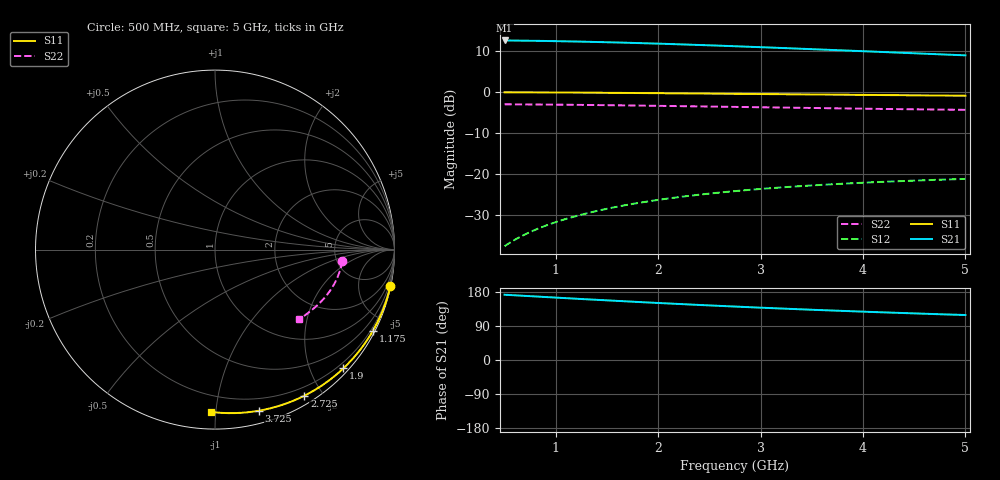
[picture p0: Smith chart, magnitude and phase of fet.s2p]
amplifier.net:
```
! =====================================================================
! amplifier.net - TANG KHUECH DAI TRANSISTOR CO HOI TIEP (KHONG THUAN NGHICH)
! =====================================================================
! Muc dich: dua vi du transistor cua transistor_bug_demo.py ve dang NETLIST.
!
! Transistor doc tu fet.s2p (mo hinh FET tin hieu nho, |S21/S12| ~ 40..160 lan
! -> KHONG thuan nghich ro ret).
!
! QUAN TRONG - vi sao phai co dien tro HOI TIEP RFB:
! Loi dao he so (1-S[p,q]) <-> (1-S[q,p]) trong engine.connect_ports() CHI
! bieu hien khi hai cong p,q duoc noi NAM TRONG CUNG mot ma tran S va duong
! truyen giua chung KHONG thuan nghich (S[p,q] != S[q,p]). Voi mach cascade
! thuan (chi noi tiep tung khoi) thi luon co S[p,q] = S[q,p] = 0 tai thoi
! diem noi -> ca hai he so deu bang 1 -> loi bi AN hoan toan.
! RFB tao mot VONG KIN G1 -> Q1 -> D1 -> RFB -> G1 bao quanh transistor,
! nen khi rut gon pairwise se phat sinh truong hop S[p,q] != S[q,p] va loi
! lo ra (xem bang "CHUNG MINH" trong compare_algorithms.py).
!
! Topo:
!                    +--------- RFB (500 ohm) ---------+
!                    |                                 |
!   PORT1 --TLI(50,45d)-- G1 --[Q1: FET tu fet.s2p]-- D1 --TLO(50,45d)-- PORT2
!                    |                                 |
!              STI(75,30d,open)                 STO(75,30d,short)
!
! Nut G1 va D1 moi co 4 chan -> netlist.py tu chen moi noi 4 cong.
! =====================================================================

FREQ START=1.0G STOP=4.0G POINTS=301

PORT 1 IN
PORT 2 OUT

! --- mang phoi hop dau vao: doan day 50 ohm + stub ho mach ---
TLINE TLI  IN  G1  Z0=50   EL=45 F0=2.4G
STUB  STI  G1      Z0=75   EL=30 F0=2.4G TERM=open

! --- transistor (khoi khong thuan nghich, lay tu file Touchstone) ---
S2P   Q1   G1  D1  FILE=fet.s2p INTERP=ri

! --- hoi tiep song song: tao vong kin bao quanh transistor ---
RES   RFB  G1  D1  R=500

! --- mang phoi hop dau ra: stub ngan mach + doan day 50 ohm ---
STUB  STO  D1      Z0=75   EL=30 F0=2.4G TERM=short
TLINE TLO  D1  OUT Z0=50   EL=45 F0=2.4G
```
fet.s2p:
! FET tin hieu nho (mo hinh noi: Cgs=0.5pF Cgd=0.05pF Cds=0.1pF gm=50mS Rds=300 Ri=4 tau=1ps)
! KHONG THUAN NGHICH: S21 != S12 -> dung de kiem chung thuat toan noi cong
# GHz S RI R 50
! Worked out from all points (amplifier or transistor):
!   181 points, 500 MHz to 5 GHz, reference 50 ohm
!   highest |S21| = 12.6 dB at 500 MHz (marker M1)
!   |S21| within 3 dB of that: start of sweep to 4.383 GHz
!   unconditionally stable (mu >= 1): nowhere
!   at 1.25 GHz: K = 0.05, MSG = 21.0 dB, |S12| = -29.8 dB
!   at 2.75 GHz: K = 0.12, MSG = 17.6 dB, |S12| = -24.1 dB
!   at 5 GHz: K = 0.21, MSG = 15.0 dB, |S12| = -21.1 dB
!   S11 on the Smith chart (normalised r, x): 500 MHz: 0.10, -9.69; 1.175 GHz: 0.10, -4.12; 1.9 GHz: 0.10, -2.55; 2.725 GHz: 0.10, -1.78; 3.725 GHz: 0.10, -1.30; 5 GHz: 0.10, -0.97
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0.5  0.9769 -0.2038  -4.219 0.5752  0.00164 0.0133  0.7091 -0.0629
0.8  0.942 -0.3198  -4.118 0.9018  0.00412 0.0208  0.7014 -0.0993
1.175  0.8794 -0.4529  -3.937 1.276  0.00856 0.0293  0.6873 -0.1424
1.9  0.7153 -0.6615  -3.462 1.857  0.0202 0.0423  0.6503 -0.2152
2.3  0.6113 -0.7463  -3.162 2.09  0.0275 0.0473  0.6264 -0.249
2.725  0.498 -0.814  -2.834 2.272  0.0355 0.0511  0.6001 -0.2801
2.75  0.4913 -0.8173  -2.815 2.281  0.0359 0.0512  0.5985 -0.2818
3.225  0.3672 -0.8674  -2.457 2.411  0.0446 0.0536  0.5691 -0.3111
3.725  0.2441 -0.8977  -2.103 2.482  0.0532 0.0544  0.5391 -0.3371
4.325  0.1104 -0.9108  -1.719 2.501  0.0624 0.0538  0.5052 -0.3631
5  -0.0202 -0.9047  -1.346 2.461  0.0713 0.0516  0.4703 -0.3876
